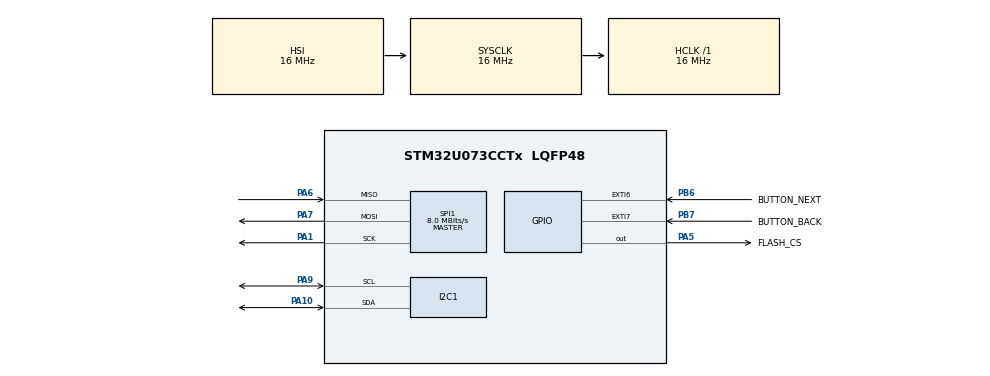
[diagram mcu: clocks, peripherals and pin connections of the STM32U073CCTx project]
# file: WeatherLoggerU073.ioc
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I2C1.Timing=0x00303D5B
Mcu.Family=STM32U0
Mcu.Name=STM32U073CCTx
Mcu.Package=LQFP48
NVIC.EXTI4_15_IRQn=true\:0\:0\:false\:false\:true\:true\:true\:true
NVIC.PriorityGroup=NVIC_PRIORITYGROUP_2
NVIC.RCC_CRS_IRQn=true\:0\:0\:false\:false\:true\:true\:false\:true
NVIC.RTC_TAMP_IRQn=true\:0\:0\:false\:false\:true\:true\:true\:true
PA1.GPIO_Speed=GPIO_SPEED_FREQ_HIGH
PA1.Mode=Full_Duplex_Master
PA1.Signal=SPI1_SCK
PA10.Mode=I2C
PA10.Signal=I2C1_SDA
PA5.GPIO_Label=FLASH_CS
PA5.PinState=GPIO_PIN_SET
PA5.Signal=GPIO_Output
PA6.GPIO_Speed=GPIO_SPEED_FREQ_HIGH
PA6.Mode=Full_Duplex_Master
PA6.Signal=SPI1_MISO
PA7.GPIO_Speed=GPIO_SPEED_FREQ_HIGH
PA7.Mode=Full_Duplex_Master
PA7.Signal=SPI1_MOSI
PA9.Mode=I2C
PA9.Signal=I2C1_SCL
PB6.GPIO_Label=BUTTON_NEXT
PB6.GPIO_ModeDefaultEXTI=GPIO_MODE_IT_FALLING
PB6.GPIO_PuPd=GPIO_PULLUP
PB6.Signal=GPXTI6
PB7.GPIO_Label=BUTTON_BACK
PB7.GPIO_ModeDefaultEXTI=GPIO_MODE_IT_FALLING
PB7.GPIO_PuPd=GPIO_PULLUP
PB7.Signal=GPXTI7
PC14-OSC32_IN.Mode=LSE-External-Oscillator
PC14-OSC32_IN.Signal=RCC_OSC32_IN
PC15-OSC32_OUT.Mode=LSE-External-Oscillator
PC15-OSC32_OUT.Signal=RCC_OSC32_OUT
ProjectManager.HeapSize=0x200
ProjectManager.StackSize=0x400
ProjectManager.TargetToolchain=STM32CubeIDE
RCC.AHBFreq_Value=16000000
RCC.CortexFreq_Value=16000000
RCC.HCLKFreq_Value=16000000
RCC.HSE_VALUE=4000000
RCC.HSI48_VALUE=48000000
RCC.HSI_VALUE=16000000
RCC.MSI_VALUE=4000000
RCC.RTCClockSelection=RCC_RTCCLKSOURCE_LSE
RCC.SYSCLKFreq_VALUE=16000000
RCC.VCOOutputFreq_Value=64000000
RTC.WakeUpClock-WakeUp=RTC_WAKEUPCLOCK_CK_SPRE_16BITS
RTC.WakeUpCounter-WakeUp=299
SPI1.BaudRatePrescaler=SPI_BAUDRATEPRESCALER_2
SPI1.CalculateBaudRate=8.0 MBits/s
SPI1.DataSize=SPI_DATASIZE_8BIT
SPI1.Direction=SPI_DIRECTION_2LINES
SPI1.Mode=SPI_MODE_MASTER
SPI1.NSSPMode=SPI_NSS_PULSE_DISABLE
SPI1.VirtualType=VM_MASTER
VP_PWR_VS_SECSignals.Mode=Security/Privilege
VP_RTC_VS_RTC_Activate.Mode=RTC_Enabled
VP_RTC_VS_RTC_Calendar.Mode=RTC_Calendar
VP_RTC_VS_RTC_WakeUp_intern.Mode=WakeUp
board=custom

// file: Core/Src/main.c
/* USER CODE BEGIN Header */
/**
  ******************************************************************************
  * @file           : main.c
  * @brief          : Main program body
  ******************************************************************************
  * @attention
  *
  * Copyright (c) 2026 STMicroelectronics.
  * All rights reserved.
  *
  * This software is licensed under terms that can be found in the LICENSE file
  * in the root directory of this software component.
  * If no LICENSE file comes with this software, it is provided AS-IS.
  *
  ******************************************************************************
  */
/* USER CODE END Header */
#include "main.h"

/* USER CODE BEGIN Includes */
#include "display.h"
#include "memory.h"
#include "sensor.h"
#include "logger.h"
#include <stdbool.h>
#include <stdint.h>

/* USER CODE END Includes */

/* USER CODE BEGIN PD */
#define BUTTON_DEBOUNSE_MS 50U
#define BUTTON_DOUBLECLICK_TIME 250U
#define DISPLAY_TIMEOUT_MS 60000U
/* USER CODE END PD */

I2C_HandleTypeDef hi2c1;

RTC_HandleTypeDef hrtc;

SPI_HandleTypeDef hspi1;

/* USER CODE BEGIN PV */
volatile bool nextButtonPressed = false;
volatile bool backButtonPressed = false;
volatile bool nextButtonDoublePressed = false;
volatile bool backButtonDoublePressed = false;
static volatile bool sleepMode = false;
static volatile bool measurementRequired = false;
static volatile bool displayWakeRequested = false;
static volatile uint32_t displayLastActivity = 0U;
static uint32_t nextButtonLastTick = 0U;
static uint32_t backButtonLastTick = 0U;
static uint8_t mode = 0U;
static uint16_t page = 0U;
static bool displayActive = true;
static uint16_t prevpage = 0U;
static uint8_t prevmode = 0U;
/* USER CODE END PV */

void SystemClock_Config(void);
static void MX_GPIO_Init(void);
static void MX_I2C1_Init(void);
static void MX_SPI1_Init(void);
static void MX_RTC_Init(void);

int main(void)
{

  /* MCU Configuration--------------------------------------------------------*/

  /* Reset of all peripherals, Initializes the Flash interface and the Systick. */
  HAL_Init();

  /* Configure the system clock */
  SystemClock_Config();

  /* Initialize all configured peripherals */
  MX_GPIO_Init();
  MX_I2C1_Init();
  MX_SPI1_Init();
  MX_RTC_Init();
  /* USER CODE BEGIN 2 */
  DISPLAY_Init();
  MemoryInit();
  SensorInit();
  displayLastActivity = HAL_GetTick();
  DISPLAY_WriteStart();
  /* USER CODE END 2 */

  /* Infinite loop */
  while (1)
  {

    /* USER CODE BEGIN 3 */
	if (sleepMode){
		displayActive = false;
		sleepMode = false;
		DISPLAY_Off();
		HAL_SuspendTick();
		HAL_PWREx_EnterSTOP2Mode(PWR_STOPENTRY_WFI);
		HAL_ResumeTick();
		SystemClock_Config();
	}
	if (displayWakeRequested && !displayActive){
		displayActive = true;
		DISPLAY_On();
	}
	if ((mode%4 == 0 && displayActive) && (mode != prevmode)){
		prevmode = mode;
		DISPLAY_WriteStart();
	}
	else if ((displayActive && mode%4 != 0) &&
			((mode != prevmode) || (page != prevpage))){
		prevmode = mode;
		prevpage = page;
		DISPLAY_WritePage(mode%4, page);
	}
	if (nextButtonPressed){
		nextButtonPressed = false;
		page++;
	}
	if (backButtonPressed){
		backButtonPressed = false;
		if (page > 0U){
			page--;
		}
	}
	if (nextButtonDoublePressed){
		nextButtonDoublePressed = false;
		if (mode%4 == 1){
			page /= 24;
		}
		else if (mode%4 == 2){
			page /= 30;
		}
		else if (mode%4 == 3){
			page *= 720;
		}
		mode++;
	}
	if (backButtonDoublePressed){
		backButtonDoublePressed = false;
		if (mode%4 == 0){
			sleepMode = true;
			displayWakeRequested = false;
			page = 0;
		}
		else{
			if (mode%4 == 3){
				page *= 30;
			}
			else if (mode%4 == 2){
				page *= 24;
			}
			mode--;
		}
	}
	if (measurementRequired){
		measurementRequired = false;
		Logger_Process();
		if (!displayActive){
			sleepMode = true;
		}
	}
	if (displayActive && (HAL_GetTick() - displayLastActivity >= DISPLAY_TIMEOUT_MS)){
		displayActive = false;
		sleepMode = true;
		displayWakeRequested = false;
		DISPLAY_Off();
	}
  }
  /* USER CODE END 3 */
}

void SystemClock_Config(void)
{
  RCC_OscInitTypeDef RCC_OscInitStruct = {0};
  RCC_ClkInitTypeDef RCC_ClkInitStruct = {0};

  /** Configure the main internal regulator output voltage
  */
  HAL_PWREx_ControlVoltageScaling(PWR_REGULATOR_VOLTAGE_SCALE2);

  /** Configure LSE Drive Capability
  */
  HAL_PWR_EnableBkUpAccess();
  __HAL_RCC_LSEDRIVE_CONFIG(RCC_LSEDRIVE_LOW);

  /** Initializes the RCC Oscillators according to the specified parameters
  * in the RCC_OscInitTypeDef structure.
  */
  RCC_OscInitStruct.OscillatorType = RCC_OSCILLATORTYPE_HSI|RCC_OSCILLATORTYPE_LSE;
  RCC_OscInitStruct.LSEState = RCC_LSE_ON;
  RCC_OscInitStruct.HSIState = RCC_HSI_ON;
  RCC_OscInitStruct.HSICalibrationValue = RCC_HSICALIBRATION_DEFAULT;
  RCC_OscInitStruct.PLL.PLLState = RCC_PLL_NONE;
  if (HAL_RCC_OscConfig(&RCC_OscInitStruct) != HAL_OK)
  {
    Error_Handler();
  }

  /** Initializes the CPU, AHB and APB buses clocks
  */
  RCC_ClkInitStruct.ClockType = RCC_CLOCKTYPE_HCLK|RCC_CLOCKTYPE_SYSCLK
                              |RCC_CLOCKTYPE_PCLK1;
  RCC_ClkInitStruct.SYSCLKSource = RCC_SYSCLKSOURCE_HSI;
  RCC_ClkInitStruct.AHBCLKDivider = RCC_SYSCLK_DIV1;
  RCC_ClkInitStruct.APB1CLKDivider = RCC_HCLK_DIV1;

  if (HAL_RCC_ClockConfig(&RCC_ClkInitStruct, FLASH_LATENCY_1) != HAL_OK)
  {
    Error_Handler();
  }
}

static void MX_I2C1_Init(void)
{

  hi2c1.Instance = I2C1;
  hi2c1.Init.Timing = 0x00303D5B;
  hi2c1.Init.OwnAddress1 = 0;
  hi2c1.Init.AddressingMode = I2C_ADDRESSINGMODE_7BIT;
  hi2c1.Init.DualAddressMode = I2C_DUALADDRESS_DISABLE;
  hi2c1.Init.OwnAddress2 = 0;
  hi2c1.Init.OwnAddress2Masks = I2C_OA2_NOMASK;
  hi2c1.Init.GeneralCallMode = I2C_GENERALCALL_DISABLE;
  hi2c1.Init.NoStretchMode = I2C_NOSTRETCH_DISABLE;
  if (HAL_I2C_Init(&hi2c1) != HAL_OK)
  {
    Error_Handler();
  }

  /** Configure Analogue filter
  */
  if (HAL_I2CEx_ConfigAnalogFilter(&hi2c1, I2C_ANALOGFILTER_ENABLE) != HAL_OK)
  {
    Error_Handler();
  }

  /** Configure Digital filter
  */
  if (HAL_I2CEx_ConfigDigitalFilter(&hi2c1, 0) != HAL_OK)
  {
    Error_Handler();
  }

}

static void MX_RTC_Init(void)
{

  RTC_TimeTypeDef sTime = {0};
  RTC_DateTypeDef sDate = {0};

  /** Initialize RTC Only
  */
  hrtc.Instance = RTC;
  hrtc.Init.HourFormat = RTC_HOURFORMAT_24;
  hrtc.Init.AsynchPrediv = 127;
  hrtc.Init.SynchPrediv = 255;
  hrtc.Init.OutPut = RTC_OUTPUT_DISABLE;
  hrtc.Init.OutPutRemap = RTC_OUTPUT_REMAP_NONE;
  hrtc.Init.OutPutPolarity = RTC_OUTPUT_POLARITY_HIGH;
  hrtc.Init.OutPutType = RTC_OUTPUT_TYPE_OPENDRAIN;
  hrtc.Init.OutPutPullUp = RTC_OUTPUT_PULLUP_NONE;
  hrtc.Init.BinMode = RTC_BINARY_NONE;
  if (HAL_RTC_Init(&hrtc) != HAL_OK)
  {
    Error_Handler();
  }

  /** Initialize RTC and set the Time and Date
  */
  sTime.Hours = 0x0;
  sTime.Minutes = 0x0;
  sTime.Seconds = 0x0;
  sTime.DayLightSaving = RTC_DAYLIGHTSAVING_NONE;
  sTime.StoreOperation = RTC_STOREOPERATION_RESET;
  if (HAL_RTC_SetTime(&hrtc, &sTime, RTC_FORMAT_BCD) != HAL_OK)
  {
    Error_Handler();
  }
  sDate.WeekDay = RTC_WEEKDAY_MONDAY;
  sDate.Month = RTC_MONTH_JANUARY;
  sDate.Date = 0x1;
  sDate.Year = 0x0;

  if (HAL_RTC_SetDate(&hrtc, &sDate, RTC_FORMAT_BCD) != HAL_OK)
  {
    Error_Handler();
  }

  /** Enable the WakeUp
  */
  if (HAL_RTCEx_SetWakeUpTimer_IT(&hrtc, 299, RTC_WAKEUPCLOCK_CK_SPRE_16BITS, 0) != HAL_OK)
  {
    Error_Handler();
  }

}

static void MX_SPI1_Init(void)
{

  /* SPI1 parameter configuration*/
  hspi1.Instance = SPI1;
  hspi1.Init.Mode = SPI_MODE_MASTER;
  hspi1.Init.Direction = SPI_DIRECTION_2LINES;
  hspi1.Init.DataSize = SPI_DATASIZE_8BIT;
  hspi1.Init.CLKPolarity = SPI_POLARITY_LOW;
  hspi1.Init.CLKPhase = SPI_PHASE_1EDGE;
  hspi1.Init.NSS = SPI_NSS_SOFT;
  hspi1.Init.BaudRatePrescaler = SPI_BAUDRATEPRESCALER_2;
  hspi1.Init.FirstBit = SPI_FIRSTBIT_MSB;
  hspi1.Init.TIMode = SPI_TIMODE_DISABLE;
  hspi1.Init.CRCCalculation = SPI_CRCCALCULATION_DISABLE;
  hspi1.Init.CRCPolynomial = 7;
  hspi1.Init.CRCLength = SPI_CRC_LENGTH_DATASIZE;
  hspi1.Init.NSSPMode = SPI_NSS_PULSE_DISABLE;
  if (HAL_SPI_Init(&hspi1) != HAL_OK)
  {
    Error_Handler();
  }

}

static void MX_GPIO_Init(void)
{
  GPIO_InitTypeDef GPIO_InitStruct = {0};

  /* GPIO Ports Clock Enable */
  __HAL_RCC_GPIOC_CLK_ENABLE();
  __HAL_RCC_GPIOA_CLK_ENABLE();
  __HAL_RCC_GPIOB_CLK_ENABLE();

  /*Configure GPIO pin Output Level */
  HAL_GPIO_WritePin(FLASH_CS_GPIO_Port, FLASH_CS_Pin, GPIO_PIN_SET);

  /*Configure GPIO pin : FLASH_CS_Pin */
  GPIO_InitStruct.Pin = FLASH_CS_Pin;
  GPIO_InitStruct.Mode = GPIO_MODE_OUTPUT_PP;
  GPIO_InitStruct.Pull = GPIO_NOPULL;
  GPIO_InitStruct.Speed = GPIO_SPEED_FREQ_LOW;
  HAL_GPIO_Init(FLASH_CS_GPIO_Port, &GPIO_InitStruct);

  /*Configure GPIO pins : BUTTON_NEXT_Pin BUTTON_BACK_Pin */
  GPIO_InitStruct.Pin = BUTTON_NEXT_Pin|BUTTON_BACK_Pin;
  GPIO_InitStruct.Mode = GPIO_MODE_IT_FALLING;
  GPIO_InitStruct.Pull = GPIO_PULLUP;
  HAL_GPIO_Init(GPIOB, &GPIO_InitStruct);

  /* EXTI interrupt init*/
  HAL_NVIC_SetPriority(EXTI4_15_IRQn, 0, 0);
  HAL_NVIC_EnableIRQ(EXTI4_15_IRQn);

}

/* USER CODE BEGIN 4 */
void HAL_GPIO_EXTI_Falling_Callback(uint16_t GPIO_Pin){
	uint32_t currentTick = HAL_GetTick();
	if (GPIO_Pin == BUTTON_NEXT_Pin){
		if (!displayWakeRequested){
			displayWakeRequested = true;
			nextButtonLastTick = currentTick;
			displayLastActivity = currentTick;
		}
		else if ((currentTick - nextButtonLastTick) < BUTTON_DEBOUNSE_MS){
		}
		else if ((currentTick - nextButtonLastTick) > BUTTON_DOUBLECLICK_TIME){
			nextButtonPressed = true;
			nextButtonLastTick = currentTick;
			displayLastActivity = currentTick;
		}
		else {
			nextButtonDoublePressed = true;
			nextButtonPressed = false;
			nextButtonLastTick = currentTick;
			displayLastActivity = currentTick;
		}
	}
	if (GPIO_Pin == BUTTON_BACK_Pin){
		if (!displayWakeRequested){
			displayWakeRequested = true;
			backButtonLastTick = currentTick;
			displayLastActivity = currentTick;
		}
		else if ((currentTick - backButtonLastTick) < BUTTON_DEBOUNSE_MS){
		}
		else if ((currentTick - backButtonLastTick) > BUTTON_DOUBLECLICK_TIME){
			backButtonPressed = true;
			backButtonLastTick = currentTick;
			displayLastActivity = currentTick;
		}
		else {
			backButtonDoublePressed = true;
			backButtonPressed = false;
			backButtonLastTick = currentTick;
			displayLastActivity = currentTick;
		}
	}
}

void HAL_RTCEx_WakeUpTimerEventCallback(RTC_HandleTypeDef *rtc){
	if (rtc == &hrtc){
		measurementRequired = true;
	}
}
/* USER CODE END 4 */

void Error_Handler(void)
{
  __disable_irq();
  while (1)
  {
  }
}
